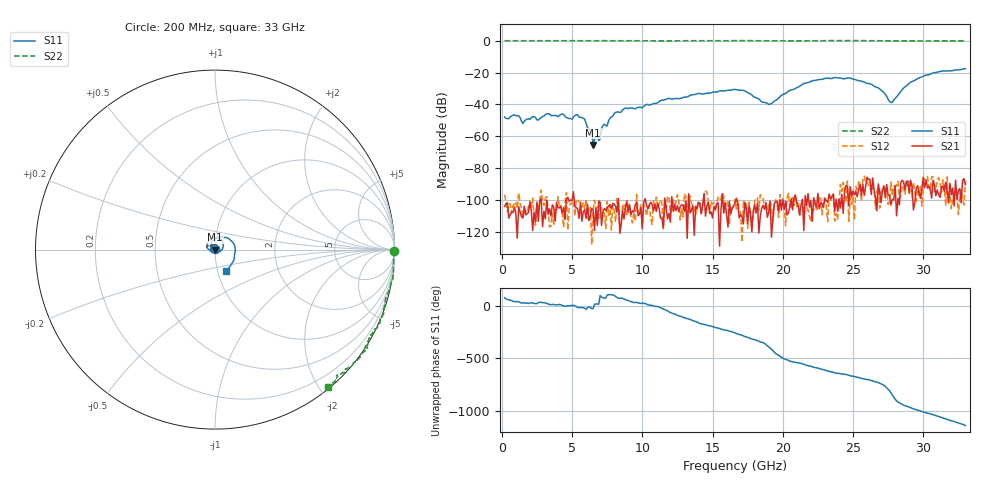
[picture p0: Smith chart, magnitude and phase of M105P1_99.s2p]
# GHZ S RI R 50
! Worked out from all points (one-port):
!   329 points, 200 MHz to 33 GHz, reference 50 ohm
!   lowest |S11| = -65.3 dB at 6.5 GHz (marker M1), VSWR 1.00, Z = 50 - j0.0211 ohm
!   |S11| at or under -10 dB: start of sweep to end of sweep
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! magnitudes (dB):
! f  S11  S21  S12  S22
! 200 MHz  -47.9  -103.9  -96.5  0.0
! 1.2 GHz  -47.0  -104.1  -95.5  0.0
! 1.5 GHz  -52.0  -111.0  -111.6  0.0
! 3.3 GHz  -45.8  -108.9  -106.0  0.0
! 5.7 GHz  -48.2  -113.2  -104.4  0.0
! 6.4 GHz  -57.3  -105.3  -127.9  0.0
! 6.5 GHz  -65.3  -105.9  -106.1  0.0
! 6.7 GHz  -60.3  -104.9  -105.5  0.0
! 7 GHz  -61.7  -101.2  -102.5  0.0
! 7.1 GHz  -54.9  -115.9  -106.0  0.0
! 7.2 GHz  -53.2  -107.1  -105.9  0.0
! 7.5 GHz  -53.5  -104.5  -100.8  0.0
! 8.1 GHz  -44.9  -103.7  -113.8  0.0
! 11.2 GHz  -38.2  -105.3  -102.0  -0.1
! 16.6 GHz  -30.6  -101.8  -99.6  0.0
! 19 GHz  -40.0  -107.7  -102.6  -0.1
! 22.1 GHz  -25.2  -113.3  -106.3  0.0
! 24.8 GHz  -23.5  -91.6  -98.4  0.0
! 26.8 GHz  -29.7  -89.8  -92.0  0.0
! 27.6 GHz  -38.1  -97.1  -100.6  -0.1
! 29.7 GHz  -23.4  -95.1  -98.0  -0.1
! 33 GHz  -17.5  -90.3  -88.3  -0.1
